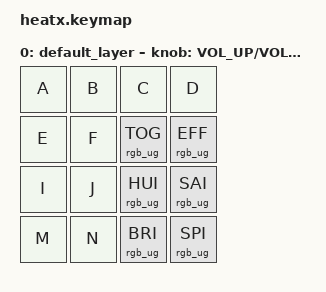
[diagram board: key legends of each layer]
#include <behaviors.dtsi>
#include <dt-bindings/zmk/keys.h>
#include <dt-bindings/zmk/rgb.h>

/ {
    keymap {
        compatible = "zmk,keymap";

        default_layer {
            /* Right encoder: Volume Up/Down */
            sensor-bindings = <
                &inc_dec_kp C_VOL_UP C_VOL_DN
            >;

            bindings = <
                &kp A &kp B &kp C &kp D
                &kp E &kp F &rgb_ug RGB_TOG &rgb_ug RGB_EFF
                &kp I &kp J &rgb_ug RGB_HUI &rgb_ug RGB_SAI
                &kp M &kp N &rgb_ug RGB_BRI &rgb_ug RGB_SPI
            >;
        };
    };
};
